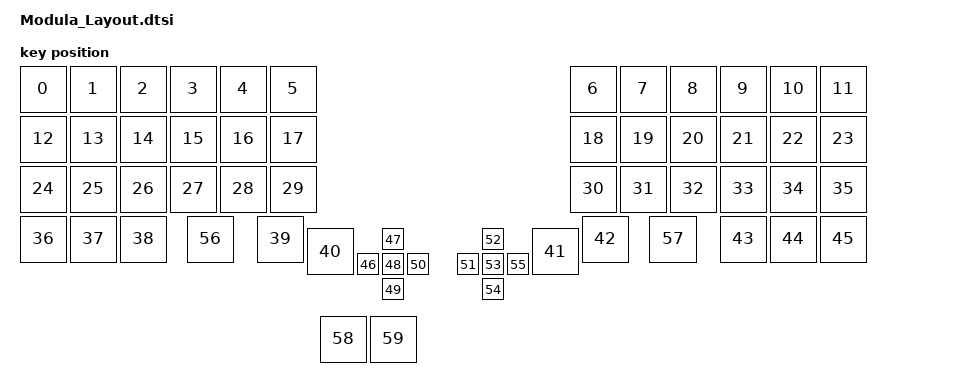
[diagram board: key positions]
#include <physical_layouts.dtsi>

/{
physical_layout0: physical_layout_0 {
  compatible = "zmk,physical-layout";
  display-name = "Default";
  kscan = <&kscan0>;
  transform = <&default_transform>;
  keys  //                     w   h    x    y     rot    rx    ry
    = <&key_physical_attrs 100 100    0    0       0     0     0>
    , <&key_physical_attrs 100 100  100    0       0     0     0>
    , <&key_physical_attrs 100 100  200    0       0     0     0>
    , <&key_physical_attrs 100 100  300    0       0     0     0>
    , <&key_physical_attrs 100 100  400    0       0     0     0>
    , <&key_physical_attrs 100 100  500    0       0     0     0>
    , <&key_physical_attrs 100 100 1100    0       0     0     0>
    , <&key_physical_attrs 100 100 1200    0       0     0     0>
    , <&key_physical_attrs 100 100 1300    0       0     0     0>
    , <&key_physical_attrs 100 100 1400    0       0     0     0>
    , <&key_physical_attrs 100 100 1500    0       0     0     0>
    , <&key_physical_attrs 100 100 1600    0       0     0     0>
    , <&key_physical_attrs 100 100    0  100       0     0     0>
    , <&key_physical_attrs 100 100  100  100       0     0     0>
    , <&key_physical_attrs 100 100  200  100       0     0     0>
    , <&key_physical_attrs 100 100  300  100       0     0     0>
    , <&key_physical_attrs 100 100  400  100       0     0     0>
    , <&key_physical_attrs 100 100  500  100       0     0     0>
    , <&key_physical_attrs 100 100 1100  100       0     0     0>
    , <&key_physical_attrs 100 100 1200  100       0     0     0>
    , <&key_physical_attrs 100 100 1300  100       0     0     0>
    , <&key_physical_attrs 100 100 1400  100       0     0     0>
    , <&key_physical_attrs 100 100 1500  100       0     0     0>
    , <&key_physical_attrs 100 100 1600  100       0     0     0>
    , <&key_physical_attrs 100 100    0  200       0     0     0>
    , <&key_physical_attrs 100 100  100  200       0     0     0>
    , <&key_physical_attrs 100 100  200  200       0     0     0>
    , <&key_physical_attrs 100 100  300  200       0     0     0>
    , <&key_physical_attrs 100 100  400  200       0     0     0>
    , <&key_physical_attrs 100 100  500  200       0     0     0>
    , <&key_physical_attrs 100 100 1100  200       0     0     0>
    , <&key_physical_attrs 100 100 1200  200       0     0     0>
    , <&key_physical_attrs 100 100 1300  200       0     0     0>
    , <&key_physical_attrs 100 100 1400  200       0     0     0>
    , <&key_physical_attrs 100 100 1500  200       0     0     0>
    , <&key_physical_attrs 100 100 1600  200       0     0     0>
    , <&key_physical_attrs 100 100    0  300       0     0     0>
    , <&key_physical_attrs 100 100  100  300       0     0     0>
    , <&key_physical_attrs 100 100  200  300       0     0     0>
    , <&key_physical_attrs 100 100  475  300       0     0     0>
    , <&key_physical_attrs 100 100  575  325       0     0     0>
    , <&key_physical_attrs 100 100 1025  325       0     0     0>
    , <&key_physical_attrs 100 100 1125  300       0     0     0>
    , <&key_physical_attrs 100 100 1400  300       0     0     0>
    , <&key_physical_attrs 100 100 1500  300       0     0     0>
    , <&key_physical_attrs 100 100 1600  300       0     0     0>
    /* 5-directional keys */
    , <&key_physical_attrs  50  50  675  375       0     0     0>
    , <&key_physical_attrs  50  50  725  325       0     0     0>
    , <&key_physical_attrs  50  50  725  375       0     0     0>
    , <&key_physical_attrs  50  50  725  425       0     0     0>
    , <&key_physical_attrs  50  50  775  375       0     0     0>
    , <&key_physical_attrs  50  50  875  375       0     0     0>
    , <&key_physical_attrs  50  50  925  325       0     0     0>
    , <&key_physical_attrs  50  50  925  375       0     0     0>
    , <&key_physical_attrs  50  50  925  425       0     0     0>
    , <&key_physical_attrs  50  50  975  375       0     0     0>
    /* additional(module) keys */
    , <&key_physical_attrs 100 100  335  300       0     0     0>
    , <&key_physical_attrs 100 100 1260  300       0     0     0>

#ifdef MODULA_MOUSE_UNIT
    , <&key_physical_attrs 100 100  600  500  0 0 0>
    , <&key_physical_attrs 100 100  700  500  0 0 0>
#endif
    ;
  };
};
